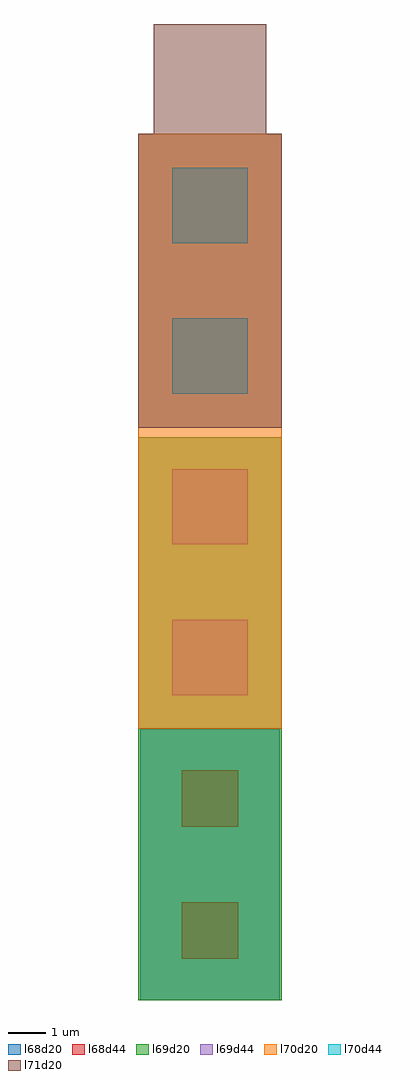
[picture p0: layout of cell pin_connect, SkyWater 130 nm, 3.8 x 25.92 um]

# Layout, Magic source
magic
tech sky130a
<< l68d20 >>
rect 0 0 370 720
<< l68d44 >>
rect 110 460 260 610
rect 110 110 260 260
<< l69d20 >>
rect -5 0 375 1495
<< l70d44 >>
rect 85 1610 285 1810
rect 85 2010 285 2210
<< l69d44 >>
rect 85 1210 285 1410
rect 85 810 285 1010
<< l71d20 >>
rect -5 1520 375 2300
rect 35 2300 335 2592
<< l70d20 >>
rect -5 720 375 2300
<< end >>
